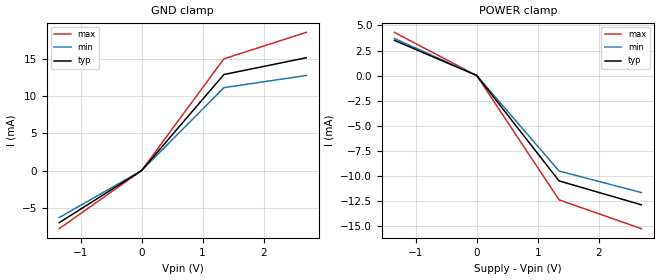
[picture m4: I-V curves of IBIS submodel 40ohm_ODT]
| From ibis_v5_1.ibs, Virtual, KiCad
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[Submodel]   40ohm_ODT
Submodel_type  Dynamic_clamp
[GND Clamp]
|   Voltage   I(typ)   I(min)   I(max)
-1.35V    -6.975mA   -6.287mA   -7.776mA
0V        -1.585uA   -2.224uA   -819.6nA
1.35V     12.86mA    11.1mA     14.96mA
2.7V      15.1mA     12.73mA    18.5mA
[POWER Clamp]
|   Voltage   I(typ)   I(min)   I(max)
-1.35V    3.515mA    3.706mA    4.312mA
0V        13.01uA    18.85uA    5.723uA
1.35V     -10.5mA    -9.514mA   -12.39mA
2.7V      -12.88mA   -11.66mA   -15.26mA
